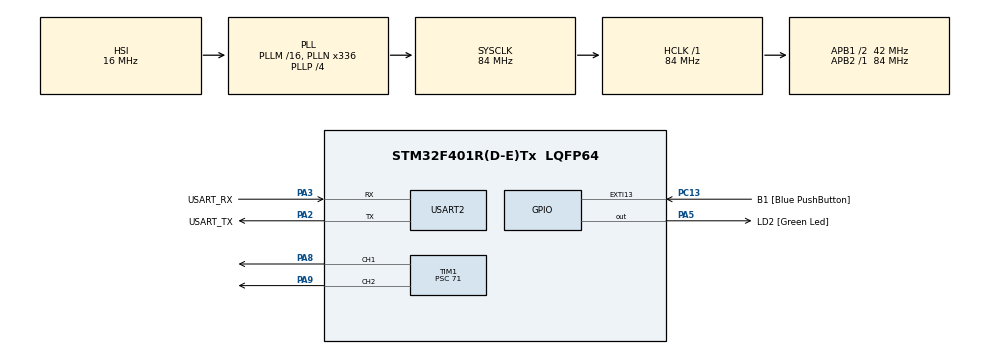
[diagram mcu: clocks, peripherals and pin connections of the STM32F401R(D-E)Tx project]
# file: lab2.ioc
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Mcu.Family=STM32F4
Mcu.Name=STM32F401R(D-E)Tx
Mcu.Package=LQFP64
NVIC.PriorityGroup=NVIC_PRIORITYGROUP_4
PA13.GPIO_Label=TMS
PA13.Mode=Trace_Asynchronous_SW
PA13.Signal=SYS_JTMS-SWDIO
PA14.GPIO_Label=TCK
PA14.Mode=Trace_Asynchronous_SW
PA14.Signal=SYS_JTCK-SWCLK
PA2.GPIO_Label=USART_TX
PA2.GPIO_Mode=GPIO_MODE_AF_PP
PA2.GPIO_PuPd=GPIO_NOPULL
PA2.GPIO_Speed=GPIO_SPEED_FREQ_LOW
PA2.Mode=Asynchronous
PA2.Signal=USART2_TX
PA3.GPIO_Label=USART_RX
PA3.GPIO_Mode=GPIO_MODE_AF_PP
PA3.GPIO_PuPd=GPIO_NOPULL
PA3.GPIO_Speed=GPIO_SPEED_FREQ_LOW
PA3.Mode=Asynchronous
PA3.Signal=USART2_RX
PA5.GPIO_Label=LD2 [Green Led]
PA5.GPIO_Mode=GPIO_MODE_OUTPUT_PP
PA5.GPIO_PuPd=GPIO_NOPULL
PA5.GPIO_Speed=GPIO_SPEED_FREQ_LOW
PA5.Signal=GPIO_Output
PA8.Signal=S_TIM1_CH1
PA9.Signal=S_TIM1_CH2
PB3.GPIO_Label=SWO
PB3.Mode=Trace_Asynchronous_SW
PB3.Signal=SYS_JTDO-SWO
PC13-ANTI_TAMP.GPIO_Label=B1 [Blue PushButton]
PC13-ANTI_TAMP.GPIO_ModeDefaultEXTI=GPIO_MODE_IT_FALLING
PC13-ANTI_TAMP.GPIO_PuPd=GPIO_NOPULL
PC13-ANTI_TAMP.Signal=GPXTI13
PC14-OSC32_IN.Mode=LSE-External-Oscillator
PC14-OSC32_IN.Signal=RCC_OSC32_IN
PC15-OSC32_OUT.Mode=LSE-External-Oscillator
PC15-OSC32_OUT.Signal=RCC_OSC32_OUT
PH0\ -\ OSC_IN.Mode=HSE-External-Clock-Source
PH0\ -\ OSC_IN.Signal=RCC_OSC_IN
PH1\ -\ OSC_OUT.Mode=HSE-External-Clock-Source
PH1\ -\ OSC_OUT.Signal=RCC_OSC_OUT
ProjectManager.HeapSize=0x200
ProjectManager.StackSize=0x400
ProjectManager.TargetToolchain=MDK-ARM V5.32
RCC.48MHZClocksFreq_Value=48000000
RCC.AHBFreq_Value=84000000
RCC.APB1CLKDivider=RCC_HCLK_DIV2
RCC.APB1Freq_Value=42000000
RCC.APB1TimFreq_Value=84000000
RCC.APB2Freq_Value=84000000
RCC.APB2TimFreq_Value=84000000
RCC.CortexFreq_Value=84000000
RCC.HCLKFreq_Value=84000000
RCC.HSE_VALUE=8000000
RCC.HSI_VALUE=16000000
RCC.PLLN=336
RCC.PLLP=RCC_PLLP_DIV4
RCC.PLLQ=7
RCC.SYSCLKFreq_VALUE=84000000
RCC.SYSCLKSource=RCC_SYSCLKSOURCE_PLLCLK
RCC.VCOOutputFreq_Value=336000000
SH.S_TIM1_CH1.0=TIM1_CH1,PWM Generation1 CH1
SH.S_TIM1_CH2.0=TIM1_CH2,PWM Generation2 CH2
TIM1.AutoReloadPreload=TIM_AUTORELOAD_PRELOAD_ENABLE
TIM1.Channel-PWM\ Generation1\ CH1=TIM_CHANNEL_1
TIM1.Channel-PWM\ Generation2\ CH2=TIM_CHANNEL_2
TIM1.Period=999
TIM1.Prescaler=71
USART2.VirtualMode=VM_ASYNC
board=NUCLEO-F401RE

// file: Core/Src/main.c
/* USER CODE BEGIN Header */
/**
  ******************************************************************************
  * @file           : main.c
  * @brief          : DC Motor Control with PWM and Direction via UART
  ******************************************************************************
  */
/* USER CODE END Header */

#include "main.h"
#include "usart.h"
#include "gpio.h"
#include "tim.h"
#include <string.h>

/* USER CODE BEGIN 0 */

// ==================== Protocol Definitions ====================
#define SOF             0xAA
#define EOF_BYTE        0x55
#define DEVICE_ADDR     0x02    // This device address (STM32)

// Protocol commands
#define CMD_SET_PWM         0x01    // Simple PWM setting (speed only)
#define CMD_MOTOR_CONTROL   0x10    // Full motor control (speed + direction)
#define CMD_GET_STATUS      0x20    // Get motor status
#define CMD_ECHO            0x30    // Echo command back

// Motor direction states
typedef enum {
    MOTOR_STOP = 0,
    MOTOR_CW,      // Clockwise
    MOTOR_CCW      // Counter-Clockwise
} MotorDirection_t;

// Motor structure
typedef struct {
    TIM_HandleTypeDef *htim;
    uint32_t channel;
    uint8_t currentSpeed;        // 0-255
    MotorDirection_t direction;
    uint8_t motorId;
} Motor_t;

// Motor direction control pins (use different pins, not PA8/PA9)
// Example: Use PB pins for direction control
#define MOTOR1_IN1_PIN  GPIO_PIN_8
#define MOTOR1_IN2_PIN  GPIO_PIN_9
#define MOTOR1_IN_PORT  GPIOB   // Changed to GPIOB

#define MOTOR2_IN1_PIN  GPIO_PIN_10
#define MOTOR2_IN2_PIN  GPIO_PIN_11
#define MOTOR2_IN_PORT  GPIOB   // Changed to GPIOB

// Global variables
Motor_t motor1, motor2;
uint8_t rxByte;
uint8_t rxBuffer[64];
uint8_t rxIndex = 0;
uint8_t frameReady = 0;

// Function prototypes
uint8_t CalcCRC(uint8_t *data, uint8_t len);
void Motor_SetDirection(Motor_t *motor, MotorDirection_t dir);
void Motor_SetSpeed(Motor_t *motor, uint8_t speed);
void Motor_Init(Motor_t *motor, TIM_HandleTypeDef *htim, uint32_t channel, uint8_t id);
void SendFrame(uint8_t transmitter_addr, uint8_t receiver_addr, uint8_t cmd, uint8_t data_len, uint8_t *data, uint8_t data_count);
void SendSimpleResponse(uint8_t transmitter_addr, uint8_t receiver_addr, uint8_t cmd, uint8_t status);
void ProcessReceivedFrame(void);
static uint16_t map_0_255_to_arr(uint8_t val, uint16_t arrMax);
void Error_Handler(void);  // Add this prototype

// ==================== CRC Functions ====================
/*
 * Calculate CRC using XOR over all bytes
 */
uint8_t CalcCRC(uint8_t *data, uint8_t len)
{
    uint8_t crc = 0;
    for (uint8_t i = 0; i < len; i++)
    {
        crc ^= data[i];
    }
    return crc;
}

// ==================== Motor Control Functions ====================
/*
 * Set motor direction
 * Parameters:
 * - motor: pointer to motor structure
 * - dir: direction (STOP, CW, CCW)
 */
void Motor_SetDirection(Motor_t *motor, MotorDirection_t dir)
{
    GPIO_TypeDef *port;
    uint16_t in1_pin, in2_pin;

    // Select appropriate pins based on motor number
    if (motor->motorId == 0) {
        port = MOTOR1_IN_PORT;
        in1_pin = MOTOR1_IN1_PIN;
        in2_pin = MOTOR1_IN2_PIN;
    } else {
        port = MOTOR2_IN_PORT;
        in1_pin = MOTOR2_IN1_PIN;
        in2_pin = MOTOR2_IN2_PIN;
    }

    switch(dir) {
        case MOTOR_STOP:
            HAL_GPIO_WritePin(port, in1_pin, GPIO_PIN_RESET);
            HAL_GPIO_WritePin(port, in2_pin, GPIO_PIN_RESET);
            break;
        case MOTOR_CW:
            HAL_GPIO_WritePin(port, in1_pin, GPIO_PIN_SET);
            HAL_GPIO_WritePin(port, in2_pin, GPIO_PIN_RESET);
            break;
        case MOTOR_CCW:
            HAL_GPIO_WritePin(port, in1_pin, GPIO_PIN_RESET);
            HAL_GPIO_WritePin(port, in2_pin, GPIO_PIN_SET);
            break;
    }
    motor->direction = dir;
}

/*
 * Set motor speed using PWM
 * Parameters:
 * - motor: pointer to motor structure
 * - speed: 0-255 value to set
 */
void Motor_SetSpeed(Motor_t *motor, uint8_t speed)
{
    uint16_t arrMax = __HAL_TIM_GET_AUTORELOAD(motor->htim);
    // Convert 0-255 value to 0-ARR range
    uint16_t pwmValue = (uint16_t)((uint32_t)speed * arrMax / 255);
    __HAL_TIM_SET_COMPARE(motor->htim, motor->channel, pwmValue);
    motor->currentSpeed = speed;
}

/*
 * Initialize motor structure and pins
 */
void Motor_Init(Motor_t *motor, TIM_HandleTypeDef *htim, uint32_t channel, uint8_t id)
{
    motor->htim = htim;
    motor->channel = channel;
    motor->motorId = id;
    motor->currentSpeed = 0;
    motor->direction = MOTOR_STOP;

    // Stop motor initially
    Motor_SetDirection(motor, MOTOR_STOP);
    Motor_SetSpeed(motor, 0);
}

// ==================== Frame Transmission Function ====================
/*
 * Send a communication frame
 * Frame format:
 * | SOF | Addr_Tx | Addr_Rx | Cmd | Len | Data... | CRC | EOF |
 */
void SendFrame(uint8_t transmitter_addr,
               uint8_t receiver_addr,
               uint8_t cmd,
               uint8_t data_len,
               uint8_t *data,
               uint8_t data_count)
{
    uint8_t frame[32];
    uint8_t i = 0;

    frame[i++] = SOF;
    frame[i++] = transmitter_addr;
    frame[i++] = receiver_addr;
    frame[i++] = cmd;
    frame[i++] = data_len;

    // Copy data bytes
    for (uint8_t j = 0; j < data_count; j++) {
        frame[i++] = data[j];
    }

    // Calculate CRC over (Address_Tx to last data byte)
    uint8_t crcLen = 4 + data_count; // Address_Tx, Address_Rx, Cmd, Len + data
    uint8_t crcValue = CalcCRC(&frame[1], crcLen);
    frame[i++] = crcValue;
    frame[i++] = EOF_BYTE;

    HAL_UART_Transmit(&huart2, frame, i, 100);
}

/*
 * Helper function to send simple response with status byte
 */
void SendSimpleResponse(uint8_t transmitter_addr, uint8_t receiver_addr,
                        uint8_t cmd, uint8_t status)
{
    SendFrame(transmitter_addr, receiver_addr, cmd, 1, &status, 1);
}

// ==================== Frame Processing Function ====================
/*
 * Process received UART frame and execute commands
 */
void ProcessReceivedFrame(void)
{
    // Check minimum frame length
    if (rxIndex < 9) return;

    // Check SOF and EOF
    if (rxBuffer[0] != SOF || rxBuffer[rxIndex-1] != EOF_BYTE) return;

    uint8_t addr_tx   = rxBuffer[1];
    uint8_t addr_rx   = rxBuffer[2];
    uint8_t cmd       = rxBuffer[3];
    uint8_t len       = rxBuffer[4];

    // Check destination address
    if (addr_rx != DEVICE_ADDR) return;

    // Calculate and verify CRC
    uint8_t crcLen = 4 + len; // Address_Tx + Address_Rx + Cmd + Len + data
    uint8_t crc_calc = CalcCRC(&rxBuffer[1], crcLen);
    uint8_t crc_rx = rxBuffer[5 + len]; // CRC is after data bytes

    if (crc_calc != crc_rx) return;

    // Process based on command
    switch(cmd)
    {
        case CMD_SET_PWM:  // Simple PWM command (speed only)
            if (len == 2) {
                uint8_t data_addr = rxBuffer[5];
                uint8_t data_val  = rxBuffer[6];

                if (data_addr == 0) {
                    Motor_SetSpeed(&motor1, data_val);
                    SendSimpleResponse(DEVICE_ADDR, addr_tx, cmd, 0x01); // Success
                }
                else if (data_addr == 1) {
                    Motor_SetSpeed(&motor2, data_val);
                    SendSimpleResponse(DEVICE_ADDR, addr_tx, cmd, 0x01);
                }
            }
            break;

        case CMD_MOTOR_CONTROL:  // Full motor control (speed + direction)
            if (len == 3) {
                uint8_t motor_id   = rxBuffer[5];
                uint8_t speed      = rxBuffer[6];
                uint8_t direction  = rxBuffer[7];

                Motor_t *motor;
                if (motor_id == 0) motor = &motor1;
                else if (motor_id == 1) motor = &motor2;
                else break;

                // Set speed
                Motor_SetSpeed(motor, speed);

                // Set direction
                MotorDirection_t dir;
                switch(direction) {
                    case 0: dir = MOTOR_STOP; break;
                    case 1: dir = MOTOR_CW; break;
                    case 2: dir = MOTOR_CCW; break;
                    default: dir = MOTOR_STOP;
                }
                Motor_SetDirection(motor, dir);

                // Send response with new status
                uint8_t response[3] = {motor->currentSpeed, (uint8_t)motor->direction, 0x01};
                SendFrame(DEVICE_ADDR, addr_tx, cmd, 3, response, 3);
            }
            break;

        case CMD_GET_STATUS:  // Get motor status
            {
                uint8_t status[5];
                status[0] = motor1.currentSpeed;
                status[1] = (uint8_t)motor1.direction;
                status[2] = motor2.currentSpeed;
                status[3] = (uint8_t)motor2.direction;
                status[4] = 0xAA; // Valid flag
                SendFrame(DEVICE_ADDR, addr_tx, cmd, 5, status, 5);
            }
            break;

        case CMD_ECHO:  // Echo back (for testing)
            SendFrame(DEVICE_ADDR, addr_tx, cmd, len, &rxBuffer[5], len);
            break;

        default:
            // Unknown command
            uint8_t err = 0xFF;
            SendSimpleResponse(DEVICE_ADDR, addr_tx, 0xFF, err);
            break;
    }
}

/*
 * Map a value from range 0–255 to range 0–ARR
 * arrMax is the timer auto-reload value (e.g., 999)
 */
static uint16_t map_0_255_to_arr(uint8_t val, uint16_t arrMax)
{
    return (uint16_t)((uint32_t)val * arrMax / 255);
}

/* USER CODE END 0 */

void SystemClock_Config(void);

int main(void)
{
    /* MCU Initialization ------------------------------------------------------*/
    HAL_Init();
    SystemClock_Config();

    /* Initialize peripherals */
    MX_GPIO_Init();
    MX_USART2_UART_Init();
    MX_TIM1_Init();

    /* USER CODE BEGIN 2 */

    // Initialize motors
    Motor_Init(&motor1, &htim1, TIM_CHANNEL_1, 0);
    Motor_Init(&motor2, &htim1, TIM_CHANNEL_2, 1);

    // Start PWM
    HAL_TIM_PWM_Start(&htim1, TIM_CHANNEL_1);
    HAL_TIM_PWM_Start(&htim1, TIM_CHANNEL_2);

    // Start UART reception
    HAL_UART_Receive_IT(&huart2, &rxByte, 1);

    // Send ready message
    uint8_t readyMsg[] = "STM32 Motor Controller Ready\r\n";
    HAL_UART_Transmit(&huart2, readyMsg, sizeof(readyMsg)-1, 100);

    /* USER CODE END 2 */

    /* Infinite loop */
    while (1)
    {
        if (frameReady)
        {
            frameReady = 0;
            ProcessReceivedFrame();
            rxIndex = 0;  // Reset buffer for next frame
        }
    }
}

void SystemClock_Config(void)
{
    RCC_OscInitTypeDef RCC_OscInitStruct = {0};
    RCC_ClkInitTypeDef RCC_ClkInitStruct = {0};

    __HAL_RCC_PWR_CLK_ENABLE();
    __HAL_PWR_VOLTAGESCALING_CONFIG(PWR_REGULATOR_VOLTAGE_SCALE2);

    RCC_OscInitStruct.OscillatorType = RCC_OSCILLATORTYPE_HSI;
    RCC_OscInitStruct.HSIState = RCC_HSI_ON;
    RCC_OscInitStruct.HSICalibrationValue = RCC_HSICALIBRATION_DEFAULT;
    RCC_OscInitStruct.PLL.PLLState = RCC_PLL_ON;
    RCC_OscInitStruct.PLL.PLLSource = RCC_PLLSOURCE_HSI;
    RCC_OscInitStruct.PLL.PLLM = 16;
    RCC_OscInitStruct.PLL.PLLN = 336;
    RCC_OscInitStruct.PLL.PLLP = RCC_PLLP_DIV4;
    RCC_OscInitStruct.PLL.PLLQ = 7;
    if (HAL_RCC_OscConfig(&RCC_OscInitStruct) != HAL_OK)
    {
        Error_Handler();
    }

    RCC_ClkInitStruct.ClockType = RCC_CLOCKTYPE_HCLK | RCC_CLOCKTYPE_SYSCLK |
                                   RCC_CLOCKTYPE_PCLK1 | RCC_CLOCKTYPE_PCLK2;
    RCC_ClkInitStruct.SYSCLKSource = RCC_SYSCLKSOURCE_PLLCLK;
    RCC_ClkInitStruct.AHBCLKDivider = RCC_SYSCLK_DIV1;
    RCC_ClkInitStruct.APB1CLKDivider = RCC_HCLK_DIV2;
    RCC_ClkInitStruct.APB2CLKDivider = RCC_HCLK_DIV1;

    if (HAL_RCC_ClockConfig(&RCC_ClkInitStruct, FLASH_LATENCY_2) != HAL_OK)
    {
        Error_Handler();
    }
}

/* USER CODE BEGIN 4 */
/**
  * @brief  UART Receive Complete Callback
  * @param  huart: UART handle
  * @retval None
  */
void HAL_UART_RxCpltCallback(UART_HandleTypeDef *huart)
{
    if (huart->Instance == USART2)
    {
        static uint8_t lastByte = 0;

        // Start new frame when SOF is received
        if (rxByte == SOF && lastByte != SOF)
        {
            rxIndex = 0;
        }

        if (rxIndex < sizeof(rxBuffer))
        {
            rxBuffer[rxIndex++] = rxByte;

            // Frame complete when EOF is received
            if (rxByte == EOF_BYTE && rxIndex >= 9)
            {
                frameReady = 1;
            }
        }
        else
        {
            // Buffer overflow - reset
            rxIndex = 0;
        }

        lastByte = rxByte;

        // Continue receiving
        HAL_UART_Receive_IT(&huart2, &rxByte, 1);
    }
}

/**
  * @brief  This function is executed in case of error occurrence.
  * @retval None
  */
void Error_Handler(void)
{
    // Disable interrupts
    __disable_irq();

    // Infinite loop
    while(1)
    {
        // Toggle an LED or do something to indicate error
        // You can add LED blinking code here if you have an LED connected
    }
}
/* USER CODE END 4 */
